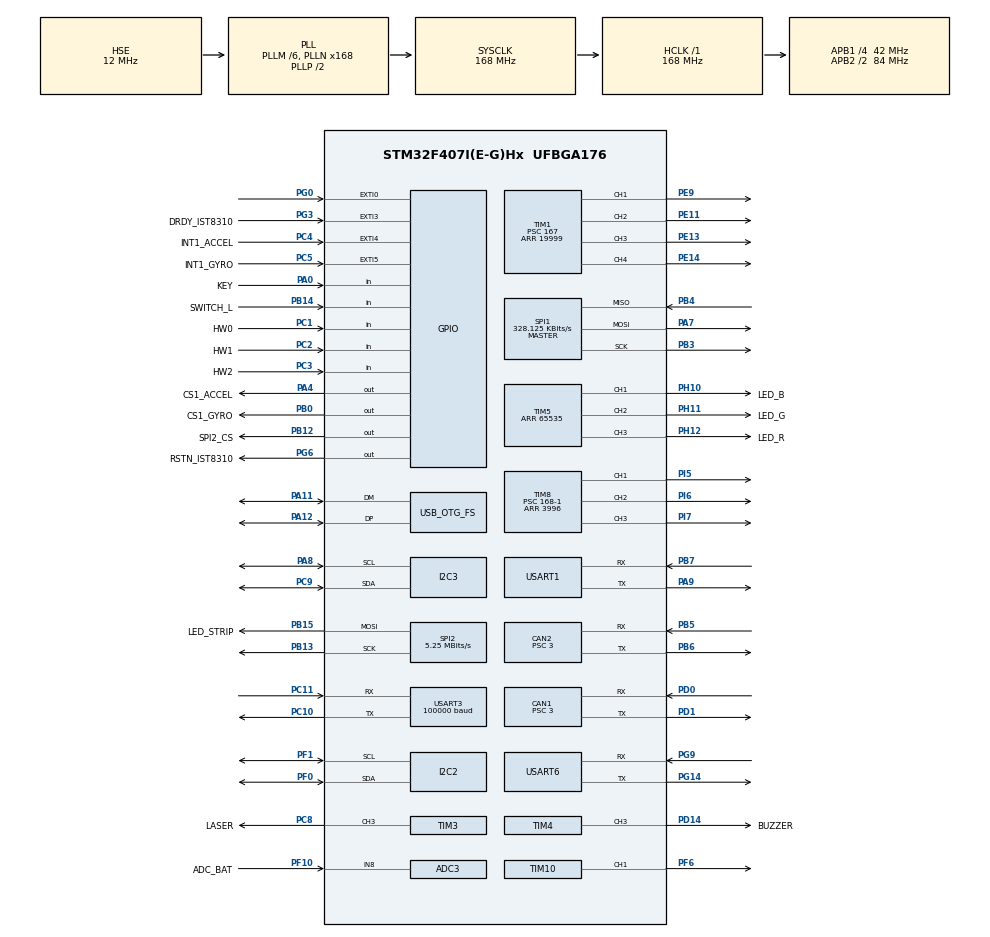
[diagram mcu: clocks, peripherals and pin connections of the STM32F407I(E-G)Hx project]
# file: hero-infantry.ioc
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ADC1.Channel-0\#ChannelRegularConversion=ADC_CHANNEL_TEMPSENSOR
ADC1.ClockPrescaler=ADC_CLOCK_SYNC_PCLK_DIV6
ADC1.NbrOfConversionFlag=1
ADC1.Rank-0\#ChannelRegularConversion=1
ADC1.SamplingTime-0\#ChannelRegularConversion=ADC_SAMPLETIME_3CYCLES
ADC1.master=1
ADC3.Channel-2\#ChannelRegularConversion=ADC_CHANNEL_8
ADC3.ClockPrescaler=ADC_CLOCK_SYNC_PCLK_DIV6
ADC3.NbrOfConversionFlag=1
ADC3.Rank-2\#ChannelRegularConversion=1
ADC3.SamplingTime-2\#ChannelRegularConversion=ADC_SAMPLETIME_3CYCLES
CAN1.ABOM=ENABLE
CAN1.BS1=CAN_BS1_10TQ
CAN1.BS2=CAN_BS2_3TQ
CAN1.CalculateBaudRate=1000000
CAN1.CalculateTimeBit=1000
CAN1.CalculateTimeQuantum=71.42857142857143
CAN1.NART=ENABLE
CAN1.Prescaler=3
CAN1.RFLM=DISABLE
CAN2.ABOM=ENABLE
CAN2.BS1=CAN_BS1_10TQ
CAN2.BS2=CAN_BS2_3TQ
CAN2.CalculateBaudRate=1000000
CAN2.CalculateTimeBit=1000
CAN2.CalculateTimeQuantum=71.42857142857143
CAN2.NART=ENABLE
CAN2.Prescaler=3
Dma.Request0=SPI1_RX
Dma.Request1=SPI1_TX
Dma.Request2=USART3_RX
Dma.Request3=USART6_RX
Dma.Request4=USART6_TX
Dma.Request5=SPI2_TX
Dma.Request6=USART1_RX
Dma.Request7=USART1_TX
Dma.SPI1_RX.0.Direction=DMA_PERIPH_TO_MEMORY
Dma.SPI1_RX.0.FIFOMode=DMA_FIFOMODE_DISABLE
Dma.SPI1_RX.0.Instance=DMA2_Stream2
Dma.SPI1_RX.0.MemDataAlignment=DMA_MDATAALIGN_BYTE
Dma.SPI1_RX.0.MemInc=DMA_MINC_ENABLE
Dma.SPI1_RX.0.Mode=DMA_NORMAL
Dma.SPI1_RX.0.PeriphDataAlignment=DMA_PDATAALIGN_BYTE
Dma.SPI1_RX.0.PeriphInc=DMA_PINC_DISABLE
Dma.SPI1_RX.0.Priority=DMA_PRIORITY_VERY_HIGH
Dma.SPI1_TX.1.Direction=DMA_MEMORY_TO_PERIPH
Dma.SPI1_TX.1.FIFOMode=DMA_FIFOMODE_DISABLE
Dma.SPI1_TX.1.Instance=DMA2_Stream3
Dma.SPI1_TX.1.MemDataAlignment=DMA_MDATAALIGN_BYTE
Dma.SPI1_TX.1.MemInc=DMA_MINC_ENABLE
Dma.SPI1_TX.1.Mode=DMA_NORMAL
Dma.SPI1_TX.1.PeriphDataAlignment=DMA_PDATAALIGN_BYTE
Dma.SPI1_TX.1.PeriphInc=DMA_PINC_DISABLE
Dma.SPI1_TX.1.Priority=DMA_PRIORITY_HIGH
Dma.SPI2_TX.5.Direction=DMA_MEMORY_TO_PERIPH
Dma.SPI2_TX.5.FIFOMode=DMA_FIFOMODE_DISABLE
Dma.SPI2_TX.5.Instance=DMA1_Stream4
Dma.SPI2_TX.5.MemDataAlignment=DMA_MDATAALIGN_BYTE
Dma.SPI2_TX.5.MemInc=DMA_MINC_ENABLE
Dma.SPI2_TX.5.Mode=DMA_NORMAL
Dma.SPI2_TX.5.PeriphDataAlignment=DMA_PDATAALIGN_BYTE
Dma.SPI2_TX.5.PeriphInc=DMA_PINC_DISABLE
Dma.SPI2_TX.5.Priority=DMA_PRIORITY_LOW
Dma.USART1_RX.6.Direction=DMA_PERIPH_TO_MEMORY
Dma.USART1_RX.6.FIFOMode=DMA_FIFOMODE_DISABLE
Dma.USART1_RX.6.Instance=DMA2_Stream5
Dma.USART1_RX.6.MemDataAlignment=DMA_MDATAALIGN_BYTE
Dma.USART1_RX.6.MemInc=DMA_MINC_ENABLE
Dma.USART1_RX.6.Mode=DMA_NORMAL
Dma.USART1_RX.6.PeriphDataAlignment=DMA_PDATAALIGN_BYTE
Dma.USART1_RX.6.PeriphInc=DMA_PINC_DISABLE
Dma.USART1_RX.6.Priority=DMA_PRIORITY_HIGH
Dma.USART1_TX.7.Direction=DMA_MEMORY_TO_PERIPH
Dma.USART1_TX.7.FIFOMode=DMA_FIFOMODE_DISABLE
Dma.USART1_TX.7.Instance=DMA2_Stream7
Dma.USART1_TX.7.MemDataAlignment=DMA_MDATAALIGN_BYTE
Dma.USART1_TX.7.MemInc=DMA_MINC_ENABLE
Dma.USART1_TX.7.Mode=DMA_NORMAL
Dma.USART1_TX.7.PeriphDataAlignment=DMA_PDATAALIGN_BYTE
Dma.USART1_TX.7.PeriphInc=DMA_PINC_DISABLE
Dma.USART1_TX.7.Priority=DMA_PRIORITY_MEDIUM
Dma.USART3_RX.2.Direction=DMA_PERIPH_TO_MEMORY
Dma.USART3_RX.2.FIFOMode=DMA_FIFOMODE_DISABLE
Dma.USART3_RX.2.Instance=DMA1_Stream1
Dma.USART3_RX.2.MemDataAlignment=DMA_MDATAALIGN_BYTE
Dma.USART3_RX.2.MemInc=DMA_MINC_ENABLE
Dma.USART3_RX.2.Mode=DMA_NORMAL
Dma.USART3_RX.2.PeriphDataAlignment=DMA_PDATAALIGN_BYTE
Dma.USART3_RX.2.PeriphInc=DMA_PINC_DISABLE
Dma.USART3_RX.2.Priority=DMA_PRIORITY_HIGH
Dma.USART6_RX.3.Direction=DMA_PERIPH_TO_MEMORY
Dma.USART6_RX.3.FIFOMode=DMA_FIFOMODE_ENABLE
Dma.USART6_RX.3.FIFOThreshold=DMA_FIFO_THRESHOLD_FULL
Dma.USART6_RX.3.Instance=DMA2_Stream1
Dma.USART6_RX.3.MemBurst=DMA_MBURST_SINGLE
Dma.USART6_RX.3.MemDataAlignment=DMA_MDATAALIGN_BYTE
Dma.USART6_RX.3.MemInc=DMA_MINC_ENABLE
Dma.USART6_RX.3.Mode=DMA_NORMAL
Dma.USART6_RX.3.PeriphBurst=DMA_PBURST_SINGLE
Dma.USART6_RX.3.PeriphDataAlignment=DMA_PDATAALIGN_BYTE
Dma.USART6_RX.3.PeriphInc=DMA_PINC_DISABLE
Dma.USART6_RX.3.Priority=DMA_PRIORITY_HIGH
Dma.USART6_TX.4.Direction=DMA_MEMORY_TO_PERIPH
Dma.USART6_TX.4.FIFOMode=DMA_FIFOMODE_DISABLE
Dma.USART6_TX.4.Instance=DMA2_Stream6
Dma.USART6_TX.4.MemDataAlignment=DMA_MDATAALIGN_BYTE
Dma.USART6_TX.4.MemInc=DMA_MINC_ENABLE
Dma.USART6_TX.4.Mode=DMA_NORMAL
Dma.USART6_TX.4.PeriphDataAlignment=DMA_PDATAALIGN_BYTE
Dma.USART6_TX.4.PeriphInc=DMA_PINC_DISABLE
Dma.USART6_TX.4.Priority=DMA_PRIORITY_MEDIUM
FREERTOS.INCLUDE_eTaskGetState=1
FREERTOS.INCLUDE_pcTaskGetTaskName=1
FREERTOS.INCLUDE_uxTaskGetStackHighWaterMark=0
FREERTOS.INCLUDE_vTaskCleanUpResources=1
FREERTOS.INCLUDE_vTaskDelayUntil=1
FREERTOS.INCLUDE_xEventGroupSetBitFromISR=0
FREERTOS.INCLUDE_xQueueGetMutexHolder=1
FREERTOS.INCLUDE_xSemaphoreGetMutexHolder=1
FREERTOS.INCLUDE_xTaskAbortDelay=1
FREERTOS.INCLUDE_xTaskGetCurrentTaskHandle=1
FREERTOS.INCLUDE_xTaskGetHandle=1
FREERTOS.Tasks01=defaultTask,-3,128,StartDefaultTask,As weak,NULL,Dynamic,NULL,NULL;calibrateTask,0,512,Calibrate_task,As weak,NULL,Dynamic,NULL,NULL;chassisTask,-2,512,Chassis_task,As weak,NULL,Dynamic,NULL,NULL;gimbalTask,2,512,Gimbal_task,As weak,NULL,Dynamic,NULL,NULL;imuTask,-3,512,INS_task,As weak,NULL,Dynamic,NULL,NULL;detectTask,-3,128,Detect_task,As weak,NULL,Dynamic,NULL,NULL;usbtask,2,128,USB_task,As weak,NULL,Dynamic,NULL,NULL;decodetask,2,128,Decode_task,As weak,NULL,Dynamic,NULL,NULL;uipaintTask,-3,128,UI_Paint_task,As weak,NULL,Dynamic,NULL,NULL;ledTask,-1,128,led_Task,As weak,NULL,Dynamic,NULL,NULL;CapTask,1,256,cap_task,As weak,NULL,Dynamic,NULL,NULL
FREERTOS.configCHECK_FOR_STACK_OVERFLOW=0
FREERTOS.configTOTAL_HEAP_SIZE=24576
FREERTOS.configUSE_NEWLIB_REENTRANT=0
I2C3.I2C_Mode=I2C_Fast
Mcu.Family=STM32F4
Mcu.Name=STM32F407I(E-G)Hx
Mcu.Package=UFBGA176
NVIC.CAN1_RX0_IRQn=true\:5\:0\:false\:false\:false\:true\:true\:true\:true
NVIC.CAN1_RX1_IRQn=true\:5\:0\:false\:false\:false\:true\:true\:true\:true
NVIC.CAN2_RX0_IRQn=true\:5\:0\:false\:false\:false\:true\:true\:true\:true
NVIC.DMA1_Stream1_IRQn=true\:5\:0\:false\:false\:true\:true\:false\:true\:true
NVIC.DMA1_Stream4_IRQn=true\:5\:0\:false\:false\:true\:true\:false\:true\:true
NVIC.DMA2_Stream1_IRQn=true\:5\:0\:false\:false\:true\:true\:false\:true\:true
NVIC.DMA2_Stream2_IRQn=true\:5\:0\:false\:false\:false\:true\:false\:true\:true
NVIC.DMA2_Stream3_IRQn=true\:5\:0\:false\:false\:true\:true\:false\:true\:true
NVIC.DMA2_Stream5_IRQn=true\:5\:0\:false\:false\:true\:true\:false\:true\:true
NVIC.DMA2_Stream6_IRQn=true\:5\:0\:false\:false\:true\:true\:false\:true\:true
NVIC.DMA2_Stream7_IRQn=true\:5\:0\:false\:false\:true\:true\:false\:true\:true
NVIC.EXTI0_IRQn=true\:5\:0\:false\:false\:true\:true\:true\:true\:true
NVIC.EXTI3_IRQn=true\:5\:0\:false\:false\:true\:true\:true\:true\:true
NVIC.EXTI4_IRQn=true\:5\:0\:false\:false\:true\:true\:true\:true\:true
NVIC.EXTI9_5_IRQn=true\:5\:0\:false\:false\:true\:true\:true\:true\:true
NVIC.OTG_FS_IRQn=true\:5\:0\:false\:false\:true\:true\:false\:true\:true
NVIC.PriorityGroup=NVIC_PRIORITYGROUP_4
NVIC.USART1_IRQn=true\:5\:0\:false\:false\:false\:true\:true\:true\:true
NVIC.USART3_IRQn=true\:5\:0\:false\:false\:false\:true\:true\:true\:true
NVIC.USART6_IRQn=true\:5\:0\:false\:false\:false\:true\:true\:true\:true
PA0-WKUP.GPIO_Label=KEY
PA0-WKUP.GPIO_PuPd=GPIO_PULLUP
PA0-WKUP.Signal=GPIO_Input
PA11.Mode=Device_Only
PA11.Signal=USB_OTG_FS_DM
PA12.Mode=Device_Only
PA12.Signal=USB_OTG_FS_DP
PA13.Mode=Serial_Wire
PA13.Signal=SYS_JTMS-SWDIO
PA14.Mode=Serial_Wire
PA14.Signal=SYS_JTCK-SWCLK
PA4.GPIO_Label=CS1_ACCEL
PA4.GPIO_PuPd=GPIO_PULLUP
PA4.GPIO_Speed=GPIO_SPEED_FREQ_HIGH
PA4.PinState=GPIO_PIN_SET
PA4.Signal=GPIO_Output
PA7.GPIO_PuPd=GPIO_PULLUP
PA7.Mode=Full_Duplex_Master
PA7.Signal=SPI1_MOSI
PA8.Mode=I2C
PA8.Signal=I2C3_SCL
PA9.Mode=Asynchronous
PA9.Signal=USART1_TX
PB0.GPIO_Label=CS1_GYRO
PB0.GPIO_PuPd=GPIO_PULLUP
PB0.GPIO_Speed=GPIO_SPEED_FREQ_HIGH
PB0.PinState=GPIO_PIN_SET
PB0.Signal=GPIO_Output
PB12.GPIO_Label=SPI2_CS
PB12.GPIO_PuPd=GPIO_PULLUP
PB12.GPIO_Speed=GPIO_SPEED_FREQ_MEDIUM
PB12.PinState=GPIO_PIN_SET
PB12.Signal=GPIO_Output
PB13.Mode=TX_Only_Simplex_Unidirect_Master
PB13.Signal=SPI2_SCK
PB14.GPIO_Label=SWITCH_L
PB14.GPIO_PuPd=GPIO_PULLDOWN
PB14.Signal=GPIO_Input
PB15.GPIO_Label=LED_STRIP
PB15.Mode=TX_Only_Simplex_Unidirect_Master
PB15.Signal=SPI2_MOSI
PB3.GPIO_PuPd=GPIO_PULLUP
PB3.Mode=Full_Duplex_Master
PB3.Signal=SPI1_SCK
PB4.GPIO_PuPd=GPIO_PULLUP
PB4.Mode=Full_Duplex_Master
PB4.Signal=SPI1_MISO
PB5.GPIO_PuPd=GPIO_PULLUP
PB5.Mode=CAN_Activate
PB5.Signal=CAN2_RX
PB6.GPIO_PuPd=GPIO_PULLUP
PB6.Mode=CAN_Activate
PB6.Signal=CAN2_TX
PB7.Mode=Asynchronous
PB7.Signal=USART1_RX
PC1.GPIO_Label=HW0
PC1.Signal=GPIO_Input
PC10.Mode=Asynchronous
PC10.Signal=USART3_TX
PC11.Mode=Asynchronous
PC11.Signal=USART3_RX
PC2.GPIO_Label=HW1
PC2.Signal=GPIO_Input
PC3.GPIO_Label=HW2
PC3.Signal=GPIO_Input
PC4.GPIO_Label=INT1_ACCEL
PC4.GPIO_ModeDefaultEXTI=GPIO_MODE_IT_FALLING
PC4.GPIO_PuPd=GPIO_PULLUP
PC4.Signal=GPXTI4
PC5.GPIO_Label=INT1_GYRO
PC5.GPIO_ModeDefaultEXTI=GPIO_MODE_IT_FALLING
PC5.GPIO_PuPd=GPIO_PULLUP
PC5.Signal=GPXTI5
PC8.GPIO_Label=LASER
PC8.GPIO_PuPd=GPIO_PULLUP
PC8.GPIO_Speed=GPIO_SPEED_FREQ_HIGH
PC8.Signal=S_TIM3_CH3
PC9.Mode=I2C
PC9.Signal=I2C3_SDA
PD0.GPIO_PuPd=GPIO_PULLUP
PD0.Mode=CAN_Activate
PD0.Signal=CAN1_RX
PD1.GPIO_PuPd=GPIO_PULLUP
PD1.Mode=CAN_Activate
PD1.Signal=CAN1_TX
PD14.GPIO_Label=BUZZER
PD14.GPIO_PuPd=GPIO_PULLUP
PD14.GPIO_Speed=GPIO_SPEED_FREQ_VERY_HIGH
PD14.Signal=S_TIM4_CH3
PE11.Signal=S_TIM1_CH2
PE13.Signal=S_TIM1_CH3
PE14.Signal=S_TIM1_CH4
PE9.GPIO_PuPd=GPIO_PULLUP
PE9.GPIO_Speed=GPIO_SPEED_FREQ_HIGH
PE9.Signal=S_TIM1_CH1
PF0.Mode=I2C
PF0.Signal=I2C2_SDA
PF1.Mode=I2C
PF1.Signal=I2C2_SCL
PF10.GPIO_Label=ADC_BAT
PF10.Mode=IN8
PF10.Signal=ADC3_IN8
PF6.GPIO_PuPd=GPIO_PULLUP
PF6.GPIO_Speed=GPIO_SPEED_FREQ_HIGH
PF6.Signal=S_TIM10_CH1
PG0.GPIO_ModeDefaultEXTI=GPIO_MODE_IT_FALLING
PG0.GPIO_PuPd=GPIO_PULLUP
PG0.Signal=GPXTI0
PG14.Mode=Asynchronous
PG14.Signal=USART6_TX
PG3.GPIO_Label=DRDY_IST8310
PG3.GPIO_ModeDefaultEXTI=GPIO_MODE_IT_FALLING
PG3.GPIO_PuPd=GPIO_PULLUP
PG3.Signal=GPXTI3
PG6.GPIO_Label=RSTN_IST8310
PG6.GPIO_PuPd=GPIO_PULLUP
PG6.GPIO_Speed=GPIO_SPEED_FREQ_MEDIUM
PG6.Signal=GPIO_Output
PG9.Mode=Asynchronous
PG9.Signal=USART6_RX
PH0-OSC_IN.Mode=HSE-External-Oscillator
PH0-OSC_IN.Signal=RCC_OSC_IN
PH1-OSC_OUT.Mode=HSE-External-Oscillator
PH1-OSC_OUT.Signal=RCC_OSC_OUT
PH10.GPIO_Label=LED_B
PH10.GPIO_PuPd=GPIO_PULLUP
PH10.GPIO_Speed=GPIO_SPEED_FREQ_HIGH
PH10.Signal=S_TIM5_CH1
PH11.GPIO_Label=LED_G
PH11.GPIO_PuPd=GPIO_PULLUP
PH11.GPIO_Speed=GPIO_SPEED_FREQ_HIGH
PH11.Signal=S_TIM5_CH2
PH12.GPIO_Label=LED_R
PH12.GPIO_PuPd=GPIO_PULLUP
PH12.GPIO_Speed=GPIO_SPEED_FREQ_HIGH
PH12.Signal=S_TIM5_CH3
PI5.Signal=S_TIM8_CH1
PI6.GPIO_PuPd=GPIO_PULLUP
PI6.GPIO_Speed=GPIO_SPEED_FREQ_VERY_HIGH
PI6.Signal=S_TIM8_CH2
PI7.GPIO_PuPd=GPIO_PULLUP
PI7.GPIO_Speed=GPIO_SPEED_FREQ_VERY_HIGH
PI7.Signal=S_TIM8_CH3
ProjectManager.HeapSize=0x2000
ProjectManager.StackSize=0x2000
ProjectManager.TargetToolchain=STM32CubeIDE
RCC.48MHZClocksFreq_Value=48000000
RCC.AHBFreq_Value=168000000
RCC.APB1CLKDivider=RCC_HCLK_DIV4
RCC.APB1Freq_Value=42000000
RCC.APB1TimFreq_Value=84000000
RCC.APB2CLKDivider=RCC_HCLK_DIV2
RCC.APB2Freq_Value=84000000
RCC.APB2TimCLKDivider=2
RCC.APB2TimFreq_Value=168000000
RCC.CortexFreq_Value=168000000
RCC.HCLKFreq_Value=168000000
RCC.HSE_VALUE=12000000
RCC.HSI_VALUE=16000000
RCC.LSE_VALUE=32768
RCC.PLLM=6
RCC.PLLN=168
RCC.PLLQ=7
RCC.RCC_RTC_Clock_SourceVirtual=RCC_RTCCLKSOURCE_HSE_DIV30
RCC.RCC_RTC_Clock_Source_FROM_HSE=RCC_RTCCLKSOURCE_HSE_DIV30
RCC.SYSCLKFreq_VALUE=168000000
RCC.SYSCLKSource=RCC_SYSCLKSOURCE_PLLCLK
RCC.VCOOutputFreq_Value=336000000
SH.S_TIM10_CH1.0=TIM10_CH1,PWM Generation1 CH1
SH.S_TIM1_CH1.0=TIM1_CH1,PWM Generation1 CH1
SH.S_TIM1_CH2.0=TIM1_CH2,PWM Generation2 CH2
SH.S_TIM1_CH3.0=TIM1_CH3,PWM Generation3 CH3
SH.S_TIM1_CH4.0=TIM1_CH4,PWM Generation4 CH4
SH.S_TIM3_CH3.0=TIM3_CH3,PWM Generation3 CH3
SH.S_TIM4_CH3.0=TIM4_CH3,PWM Generation3 CH3
SH.S_TIM5_CH1.0=TIM5_CH1,PWM Generation1 CH1
SH.S_TIM5_CH2.0=TIM5_CH2,PWM Generation2 CH2
SH.S_TIM5_CH3.0=TIM5_CH3,PWM Generation3 CH3
SH.S_TIM8_CH1.0=TIM8_CH1,PWM Generation1 CH1
SH.S_TIM8_CH2.0=TIM8_CH2,PWM Generation2 CH2
SH.S_TIM8_CH3.0=TIM8_CH3,PWM Generation3 CH3
SPI1.BaudRatePrescaler=SPI_BAUDRATEPRESCALER_256
SPI1.CLKPhase=SPI_PHASE_2EDGE
SPI1.CLKPolarity=SPI_POLARITY_HIGH
SPI1.CalculateBaudRate=328.125 KBits/s
SPI1.Direction=SPI_DIRECTION_2LINES
SPI1.Mode=SPI_MODE_MASTER
SPI1.VirtualType=VM_MASTER
SPI2.BaudRatePrescaler=SPI_BAUDRATEPRESCALER_8
SPI2.CLKPhase=SPI_PHASE_2EDGE
SPI2.CalculateBaudRate=5.25 MBits/s
SPI2.Direction=SPI_DIRECTION_2LINES
SPI2.Mode=SPI_MODE_MASTER
SPI2.VirtualType=VM_MASTER
TIM1.AutoReloadPreload=TIM_AUTORELOAD_PRELOAD_DISABLE
TIM1.Channel-PWM\ Generation1\ CH1=TIM_CHANNEL_1
TIM1.Channel-PWM\ Generation2\ CH2=TIM_CHANNEL_2
TIM1.Channel-PWM\ Generation3\ CH3=TIM_CHANNEL_3
TIM1.Channel-PWM\ Generation4\ CH4=TIM_CHANNEL_4
TIM1.Period=19999
TIM1.Prescaler=167
TIM1.Pulse-PWM\ Generation1\ CH1=1000
TIM1.Pulse-PWM\ Generation2\ CH2=1000
TIM10.Channel=TIM_CHANNEL_1
TIM10.Period=4999
TIM3.Channel-PWM\ Generation3\ CH3=TIM_CHANNEL_3
TIM3.Period=8399
TIM4.Channel-PWM\ Generation3\ CH3=TIM_CHANNEL_3
TIM4.Prescaler=167
TIM5.Channel-PWM\ Generation1\ CH1=TIM_CHANNEL_1
TIM5.Channel-PWM\ Generation2\ CH2=TIM_CHANNEL_2
TIM5.Channel-PWM\ Generation3\ CH3=TIM_CHANNEL_3
TIM5.Period=65535
TIM8.AutoReloadPreload=TIM_AUTORELOAD_PRELOAD_ENABLE
TIM8.Channel-PWM\ Generation1\ CH1=TIM_CHANNEL_1
TIM8.Channel-PWM\ Generation2\ CH2=TIM_CHANNEL_2
TIM8.Channel-PWM\ Generation3\ CH3=TIM_CHANNEL_3
TIM8.Period=3996
TIM8.Prescaler=168-1
TIM8.Pulse-PWM\ Generation2\ CH2=1500
TIM8.Pulse-PWM\ Generation3\ CH3=1500
USART1.VirtualMode=VM_ASYNC
USART3.BaudRate=100000
USART3.Mode=MODE_RX
USART3.Parity=PARITY_EVEN
USART3.VirtualMode=VM_ASYNC
USART6.VirtualMode=VM_ASYNC
USB_DEVICE.CLASS_NAME_FS=CDC
USB_DEVICE.VirtualMode-CDC_FS=Cdc
USB_DEVICE.VirtualModeFS=Cdc_FS
USB_OTG_FS.VirtualMode=Device_Only
VP_ADC1_TempSens_Input.Mode=IN-TempSens
VP_ADC1_Vref_Input.Mode=IN-Vrefint
VP_CRC_VS_CRC.Mode=CRC_Activate
VP_FREERTOS_VS_CMSIS_V1.Mode=CMSIS_V1
VP_RNG_VS_RNG.Mode=RNG_Activate
VP_TIM10_VS_ClockSourceINT.Mode=Enable_Timer
VP_TIM4_VS_ClockSourceINT.Mode=Internal
VP_TIM5_VS_ClockSourceINT.Mode=Internal
VP_TIM8_VS_ClockSourceINT.Mode=Internal
VP_USB_DEVICE_VS_USB_DEVICE_CDC_FS.Mode=CDC_FS
board=custom

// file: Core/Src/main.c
/* USER CODE BEGIN Header */
/**
  ******************************************************************************
  * @file           : main.c
  * @brief          : Main program body
  ******************************************************************************
  * @attention
  *
  * Copyright (c) 2022 STMicroelectronics.
  * All rights reserved.
  *
  * This software is licensed under terms that can be found in the LICENSE file
  * in the root directory of this software component.
  * If no LICENSE file comes with this software, it is provided AS-IS.
  *
  ******************************************************************************
  */
/* USER CODE END Header */
#include "main.h"
#include "cmsis_os.h"
#include "adc.h"
#include "can.h"
#include "crc.h"
#include "dma.h"
#include "i2c.h"
#include "rng.h"
#include "spi.h"
#include "tim.h"
#include "usart.h"
#include "usb_device.h"
#include "gpio.h"

/* USER CODE BEGIN Includes */
#include "bsp_can.h"
#include "bsp_delay.h"
#include "bsp_usart.h"
#include "remote.h"
#include "Referee.h"
#include "can_receive.h"

#include "Calibrate.h"
/* USER CODE END Includes */

/* USER CODE BEGIN PTD */
extern uint8_t usart1_receive_buf[200];
/* USER CODE END PTD */

void SystemClock_Config(void);
void MX_FREERTOS_Init(void);

int main(void)
{

  /* MCU Configuration--------------------------------------------------------*/

  /* Reset of all peripherals, Initializes the Flash interface and the Systick. */
  HAL_Init();

  /* Configure the system clock */
  SystemClock_Config();

    /* Initialize all configured peripherals */
    MX_GPIO_Init();
    MX_DMA_Init();
    MX_CRC_Init();
    MX_RNG_Init();
    MX_CAN1_Init();
    MX_CAN2_Init();
    MX_SPI1_Init();
    MX_SPI2_Init();
    MX_TIM1_Init();
    MX_TIM3_Init();
    MX_TIM4_Init();
    MX_TIM5_Init();
    MX_TIM8_Init();
    MX_TIM10_Init();
    MX_ADC1_Init();
    MX_ADC3_Init();
    MX_I2C2_Init();
    MX_I2C3_Init();
    MX_USART1_UART_Init();
    MX_USART3_UART_Init();
    MX_USART6_UART_Init();
  /* USER CODE BEGIN 2 */
//    can_filter_init();
    delay_init();
    HAL_TIM_PWM_Start(&htim8,TIM_CHANNEL_1);
    HAL_TIM_PWM_Start(&htim8,TIM_CHANNEL_2);
    HAL_TIM_PWM_Start(&htim8,TIM_CHANNEL_3);
    HAL_TIM_Base_Start(&htim1);
    HAL_TIM_PWM_Start(&htim1,TIM_CHANNEL_1);
    HAL_TIM_PWM_Start(&htim1,TIM_CHANNEL_2);
    HAL_TIM_PWM_Start(&htim1,TIM_CHANNEL_3);
    HAL_TIM_PWM_Start(&htim1,TIM_CHANNEL_4);
    usart6_init(&usart6_buf[0], REFEREE_BUFFER_SIZE);
    usart1_init(&usart1_buf[0], REFEREE_BUFFER_SIZE);

    CAN_init();
    CAN_Board_init();

    cali_param_init();
    remote_control_init();
  /* USER CODE END 2 */

  /* Call init function for freertos objects (in freertos.c) */
    MX_FREERTOS_Init();

    /* Start scheduler */
    osKernelStart();
    /* We should never get here as control is now taken by the scheduler */
    /* Infinite loop */
  while (1)
  {

  }
}

void SystemClock_Config(void)
{
  RCC_OscInitTypeDef RCC_OscInitStruct = {0};
  RCC_ClkInitTypeDef RCC_ClkInitStruct = {0};

  /** Configure the main internal regulator output voltage
  */
  __HAL_RCC_PWR_CLK_ENABLE();
  __HAL_PWR_VOLTAGESCALING_CONFIG(PWR_REGULATOR_VOLTAGE_SCALE1);

  /** Initializes the RCC Oscillators according to the specified parameters
  * in the RCC_OscInitTypeDef structure.
  */
  RCC_OscInitStruct.OscillatorType = RCC_OSCILLATORTYPE_HSE;
  RCC_OscInitStruct.HSEState = RCC_HSE_ON;
  RCC_OscInitStruct.PLL.PLLState = RCC_PLL_ON;
  RCC_OscInitStruct.PLL.PLLSource = RCC_PLLSOURCE_HSE;
  RCC_OscInitStruct.PLL.PLLM = 6;
  RCC_OscInitStruct.PLL.PLLN = 168;
  RCC_OscInitStruct.PLL.PLLP = RCC_PLLP_DIV2;
  RCC_OscInitStruct.PLL.PLLQ = 7;
  if (HAL_RCC_OscConfig(&RCC_OscInitStruct) != HAL_OK)
  {
    Error_Handler();
  }

  /** Initializes the CPU, AHB and APB buses clocks
  */
  RCC_ClkInitStruct.ClockType = RCC_CLOCKTYPE_HCLK|RCC_CLOCKTYPE_SYSCLK
                              |RCC_CLOCKTYPE_PCLK1|RCC_CLOCKTYPE_PCLK2;
  RCC_ClkInitStruct.SYSCLKSource = RCC_SYSCLKSOURCE_PLLCLK;
  RCC_ClkInitStruct.AHBCLKDivider = RCC_SYSCLK_DIV1;
  RCC_ClkInitStruct.APB1CLKDivider = RCC_HCLK_DIV4;
  RCC_ClkInitStruct.APB2CLKDivider = RCC_HCLK_DIV2;

  if (HAL_RCC_ClockConfig(&RCC_ClkInitStruct, FLASH_LATENCY_5) != HAL_OK)
  {
    Error_Handler();
  }
}

void Error_Handler(void)
{
  /* USER CODE BEGIN Error_Handler_Debug */
  /* User can add his own implementation to report the HAL error return state */
//  __disable_irq();
//  while (1)
//  {
//  }
  /* USER CODE END Error_Handler_Debug */
}

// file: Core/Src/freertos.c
/* USER CODE BEGIN Header */
/**
  ******************************************************************************
  * File Name          : freertos.c
  * Description        : Code for freertos applications
  ******************************************************************************
  * @attention
  *
  * Copyright (c) 2022 STMicroelectronics.
  * All rights reserved.
  *
  * This software is licensed under terms that can be found in the LICENSE file
  * in the root directory of this software component.
  * If no LICENSE file comes with this software, it is provided AS-IS.
  *
  ******************************************************************************
  */
/* USER CODE END Header */

#include "FreeRTOS.h"
#include "task.h"
#include "main.h"
#include "cmsis_os.h"

osThreadId defaultTaskHandle;
osThreadId calibrateTaskHandle;
osThreadId chassisTaskHandle;
osThreadId gimbalTaskHandle;
osThreadId imuTaskHandle;
osThreadId detectTaskHandle;
osThreadId usbtaskHandle;
osThreadId decodetaskHandle;
osThreadId uipaintTaskHandle;
osThreadId ledTaskHandle;
osThreadId CapTaskHandle;

void StartDefaultTask(void const * argument);
void Calibrate_task(void const * argument);
void Chassis_task(void const * argument);
void Gimbal_task(void const * argument);
void INS_task(void const * argument);
void Detect_task(void const * argument);
void USB_task(void const * argument);
void Decode_task(void const * argument);
void UI_Paint_task(void const * argument);
void led_Task(void const * argument);
void cap_task(void const * argument);

extern void MX_USB_DEVICE_Init(void);
void MX_FREERTOS_Init(void); /* (MISRA C 2004 rule 8.1) */

/* GetIdleTaskMemory prototype (linked to static allocation support) */
void vApplicationGetIdleTaskMemory( StaticTask_t **ppxIdleTaskTCBBuffer, StackType_t **ppxIdleTaskStackBuffer, uint32_t *pulIdleTaskStackSize );

/* USER CODE BEGIN GET_IDLE_TASK_MEMORY */
static StaticTask_t xIdleTaskTCBBuffer;
static StackType_t xIdleStack[configMINIMAL_STACK_SIZE];

void vApplicationGetIdleTaskMemory( StaticTask_t **ppxIdleTaskTCBBuffer, StackType_t **ppxIdleTaskStackBuffer, uint32_t *pulIdleTaskStackSize )
{
  *ppxIdleTaskTCBBuffer = &xIdleTaskTCBBuffer;
  *ppxIdleTaskStackBuffer = &xIdleStack[0];
  *pulIdleTaskStackSize = configMINIMAL_STACK_SIZE;
  /* place for user code */
}
QueueHandle_t CDC_send_queue;

/* USER CODE END GET_IDLE_TASK_MEMORY */

void MX_FREERTOS_Init(void) {

  /* Create the thread(s) */
  /* definition and creation of defaultTask */
  osThreadDef(defaultTask, StartDefaultTask, osPriorityIdle, 0, 128);
  defaultTaskHandle = osThreadCreate(osThread(defaultTask), NULL);

  /* definition and creation of calibrateTask */
  osThreadDef(calibrateTask, Calibrate_task, osPriorityNormal, 0, 512);
  calibrateTaskHandle = osThreadCreate(osThread(calibrateTask), NULL);

  /* definition and creation of chassisTask */
  osThreadDef(chassisTask, Chassis_task, osPriorityLow, 0, 512);
  chassisTaskHandle = osThreadCreate(osThread(chassisTask), NULL);

  /* definition and creation of gimbalTask */
  osThreadDef(gimbalTask, Gimbal_task, osPriorityHigh, 0, 512);
  gimbalTaskHandle = osThreadCreate(osThread(gimbalTask), NULL);

  /* definition and creation of imuTask */
  osThreadDef(imuTask, INS_task, osPriorityIdle, 0, 512);
  imuTaskHandle = osThreadCreate(osThread(imuTask), NULL);

  /* definition and creation of detectTask */
  osThreadDef(detectTask, Detect_task, osPriorityIdle, 0, 128);
  detectTaskHandle = osThreadCreate(osThread(detectTask), NULL);

  /* definition and creation of usbtask */
  osThreadDef(usbtask, USB_task, osPriorityHigh, 0, 128);
  usbtaskHandle = osThreadCreate(osThread(usbtask), NULL);

  /* definition and creation of decodetask */
  osThreadDef(decodetask, Decode_task, osPriorityHigh, 0, 128);
  decodetaskHandle = osThreadCreate(osThread(decodetask), NULL);

  /* definition and creation of uipaintTask */
  osThreadDef(uipaintTask, UI_Paint_task, osPriorityIdle, 0, 128);
  uipaintTaskHandle = osThreadCreate(osThread(uipaintTask), NULL);

  /* definition and creation of ledTask */
  osThreadDef(ledTask, led_Task, osPriorityBelowNormal, 0, 128);
  ledTaskHandle = osThreadCreate(osThread(ledTask), NULL);

  /* definition and creation of CapTask */
  osThreadDef(CapTask, cap_task, osPriorityAboveNormal, 0, 256);
  CapTaskHandle = osThreadCreate(osThread(CapTask), NULL);

  /* USER CODE BEGIN RTOS_THREADS */
  /* add threads, ... */
    CDC_send_queue = xQueueCreate(1, 128);
  /* USER CODE END RTOS_THREADS */

}

__weak void StartDefaultTask(void const * argument)
{
  /* init code for USB_DEVICE */
  MX_USB_DEVICE_Init();
  for(;;)
  {
    osDelay(1);
  }
}

__weak void Calibrate_task(void const * argument)
{
  for(;;)
  {
    osDelay(1);
  }
}

__weak void Chassis_task(void const * argument)
{
  for(;;)
  {
    osDelay(1);
  }
}

__weak void Gimbal_task(void const * argument)
{
  for(;;)
  {
    osDelay(1);
  }
}

__weak void INS_task(void const * argument)
{
  for(;;)
  {
    osDelay(1);
  }
}

__weak void Detect_task(void const * argument)
{
  for(;;)
  {
    osDelay(1);
  }
}

__weak void USB_task(void const * argument)
{
  for(;;)
  {
    osDelay(1);
  }
}

__weak void Decode_task(void const * argument)
{
  for(;;)
  {
    osDelay(1);
  }
}

__weak void UI_Paint_task(void const * argument)
{
  for(;;)
  {
    osDelay(1);
  }
}

__weak void led_Task(void const * argument)
{
  for(;;)
  {
    osDelay(1);
  }
}

__weak void cap_task(void const * argument)
{
  for(;;)
  {
    osDelay(1);
  }
}
